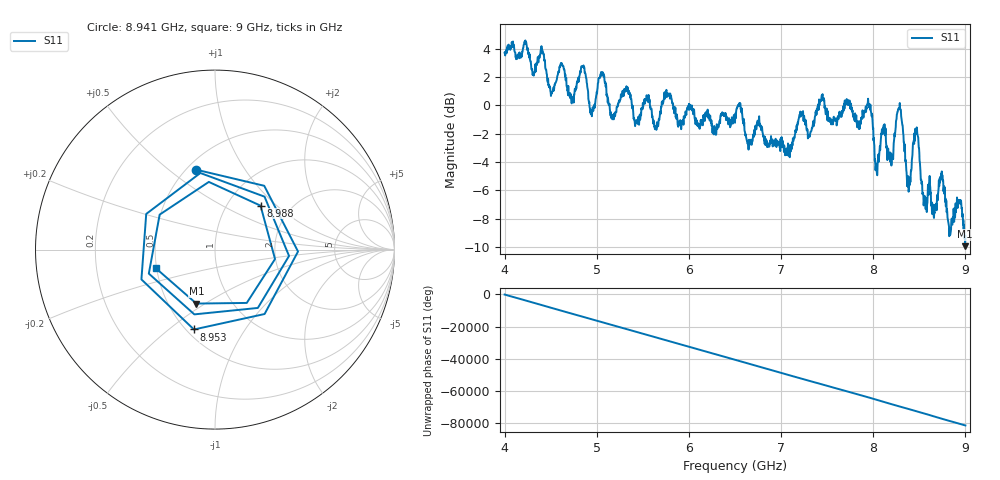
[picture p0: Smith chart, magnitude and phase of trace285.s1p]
! Created with skrf 1.8.0 (http://scikit-rf.org).
# Hz S RI R 50.0
!freq ReS11 ImS11
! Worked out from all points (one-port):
!   1601 points, 4 GHz to 9 GHz, reference 50 ohm
!   lowest |S11| = -9.9 dB at 8.997 GHz (marker M1), VSWR 1.93, Z = 34.3 - j23 ohm
!   |S11| at or under -10 dB: nowhere
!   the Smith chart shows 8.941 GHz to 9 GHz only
!   S11 on the Smith chart (normalised r, x): 8.941 GHz: 0.56, +0.63; 8.953 GHz: 0.54, -0.62; 8.988 GHz: 1.42, +0.79; 9 GHz: 0.50, -0.12
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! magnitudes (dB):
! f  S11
! 4 GHz  3.7
! 4.406 GHz  3.9
! 4.512 GHz  0.9
! 4.625 GHz  2.9
! 4.725 GHz  0.2
! 4.844 GHz  2.8
! 4.941 GHz  -0.5
! 5.056 GHz  2.2
! 5.166 GHz  -0.9
! 5.25 GHz  0.3
! 5.875 GHz  -1.0
! 6.5 GHz  -1.2
! 7.125 GHz  -2.8
! 7.438 GHz  0.5
! 7.75 GHz  -0.2
! 7.962 GHz  -0.1
! 8.041 GHz  -4.9
! 8.109 GHz  -1.7
! 8.194 GHz  -3.9
! 8.284 GHz  -0.3
! 8.375 GHz  -5.7
! 8.466 GHz  -1.7
! 8.562 GHz  -6.4
! 8.941 GHz  -6.8
! 8.953 GHz  -6.7
! 8.988 GHz  -9.1
! 8.997 GHz  -9.9
! 9 GHz  -9.2
